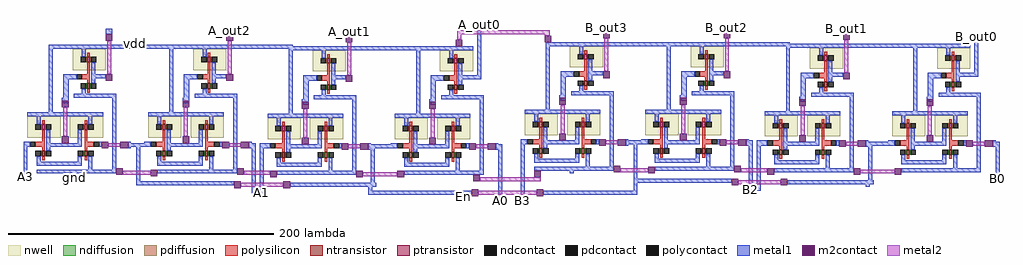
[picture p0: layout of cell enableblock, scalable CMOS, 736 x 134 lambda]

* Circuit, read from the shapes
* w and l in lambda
.subckt enableblock A0 A1 A2 A3 A_out0 A_out1 A_out2 A_out3 B0 B1 B2 B3 B_out0 B_out1 B_out2 B_out3 En gnd vdd
M1 enable1_0/AND_0/not_0/in A3 n1 VSUBS nfet w=4 l=2
M2 gnd En n1 VSUBS nfet w=4 l=2
M3 A_out3 enable1_0/AND_0/not_0/in gnd VSUBS nfet w=4 l=2
M4 enable1_0/AND_1/not_0/in En n2 VSUBS nfet w=4 l=2
M5 gnd A2 n2 VSUBS nfet w=4 l=2
M6 A_out2 enable1_0/AND_1/not_0/in gnd VSUBS nfet w=4 l=2
M7 enable1_0/AND_2/not_0/in A1 n3 VSUBS nfet w=4 l=2
M8 gnd En n3 VSUBS nfet w=4 l=2
M9 A_out1 enable1_0/AND_2/not_0/in gnd VSUBS nfet w=4 l=2
M10 enable1_0/AND_3/not_0/in En n4 VSUBS nfet w=4 l=2
M11 gnd A0 n4 VSUBS nfet w=4 l=2
M12 A_out0 enable1_0/AND_3/not_0/in gnd VSUBS nfet w=4 l=2
M13 enable1_1/AND_0/not_0/in B3 n5 VSUBS nfet w=4 l=2
M14 gnd En n5 VSUBS nfet w=4 l=2
M15 B_out3 enable1_1/AND_0/not_0/in gnd VSUBS nfet w=4 l=2
M16 enable1_1/AND_1/not_0/in En n6 VSUBS nfet w=4 l=2
M17 gnd B2 n6 VSUBS nfet w=4 l=2
M18 B_out2 enable1_1/AND_1/not_0/in gnd VSUBS nfet w=4 l=2
M19 enable1_1/AND_2/not_0/in B1 n7 VSUBS nfet w=4 l=2
M20 gnd En n7 VSUBS nfet w=4 l=2
M21 B_out1 enable1_1/AND_2/not_0/in gnd VSUBS nfet w=4 l=2
M22 enable1_1/AND_3/not_0/in En n8 VSUBS nfet w=4 l=2
M23 gnd B0 n8 VSUBS nfet w=4 l=2
M24 B_out0 enable1_1/AND_3/not_0/in gnd VSUBS nfet w=4 l=2
M25 enable1_0/AND_0/not_0/in A3 vdd n9 pfet w=4 l=2
M26 vdd En enable1_0/AND_0/not_0/in n10 pfet w=4 l=2
M27 A_out3 enable1_0/AND_0/not_0/in vdd n11 pfet w=4 l=2
M28 enable1_0/AND_1/not_0/in En vdd n12 pfet w=4 l=2
M29 vdd A2 enable1_0/AND_1/not_0/in n13 pfet w=4 l=2
M30 A_out2 enable1_0/AND_1/not_0/in vdd n14 pfet w=4 l=2
M31 enable1_0/AND_2/not_0/in A1 vdd n15 pfet w=4 l=2
M32 vdd En enable1_0/AND_2/not_0/in n16 pfet w=4 l=2
M33 A_out1 enable1_0/AND_2/not_0/in vdd n17 pfet w=4 l=2
M34 enable1_0/AND_3/not_0/in En vdd n18 pfet w=4 l=2
M35 vdd A0 enable1_0/AND_3/not_0/in n19 pfet w=4 l=2
M36 A_out0 enable1_0/AND_3/not_0/in vdd n20 pfet w=4 l=2
M37 enable1_1/AND_0/not_0/in B3 vdd n21 pfet w=4 l=2
M38 vdd En enable1_1/AND_0/not_0/in n22 pfet w=4 l=2
M39 B_out3 enable1_1/AND_0/not_0/in vdd n23 pfet w=4 l=2
M40 enable1_1/AND_1/not_0/in En vdd n24 pfet w=4 l=2
M41 vdd B2 enable1_1/AND_1/not_0/in n25 pfet w=4 l=2
M42 B_out2 enable1_1/AND_1/not_0/in vdd n26 pfet w=4 l=2
M43 enable1_1/AND_2/not_0/in B1 vdd n27 pfet w=4 l=2
M44 vdd En enable1_1/AND_2/not_0/in n28 pfet w=4 l=2
M45 B_out1 enable1_1/AND_2/not_0/in vdd n29 pfet w=4 l=2
M46 enable1_1/AND_3/not_0/in En vdd n30 pfet w=4 l=2
M47 vdd B0 enable1_1/AND_3/not_0/in n31 pfet w=4 l=2
M48 B_out0 enable1_1/AND_3/not_0/in vdd n32 pfet w=4 l=2
.ends

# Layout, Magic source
magic
tech scmos
<< metal1 >>
rect 53 117 58 119
rect 144 117 149 119
rect 234 116 239 118
rect 72 107 79 109
rect 333 110 336 123
rect 428 119 433 121
rect 519 119 524 121
rect 609 118 614 120
rect 708 112 711 114
rect -9 6 -6 9
rect 28 6 31 8
rect 251 -3 254 -2
rect 163 -5 166 -3
rect 169 -5 172 -3
rect 251 -6 329 -3
rect 321 -8 324 -6
rect 349 -11 352 5
rect 366 -11 369 11
rect 724 5 727 7
rect 451 -3 454 3
rect 538 -3 541 -1
rect 544 -3 547 -1
rect 383 -6 454 -3
<< m2contact >>
rect 317 106 322 111
rect 384 109 389 114
rect 330 4 335 9
rect 329 -7 334 -2
rect 376 7 381 12
rect 378 -7 383 -2
<< metal2 >>
rect 318 115 388 118
rect 318 111 321 115
rect 384 114 388 115
rect 335 4 381 7
rect 334 -6 378 -3
use enable1  enable1_1
transform 1 0 422 0 1 20
box -56 -21 305 99
use enable1  enable1_0
transform 1 0 47 0 1 18
box -56 -21 305 99
<< labels >>
rlabel metal1 -9 6 -6 9 3 A3
rlabel metal1 28 6 31 8 1 gnd
rlabel metal1 72 107 79 109 1 vdd
rlabel metal1 169 -5 172 -3 1 A1
rlabel metal1 163 -5 166 -3 1 A2
rlabel metal1 349 -11 352 -9 1 A0
rlabel metal1 321 -8 324 -6 1 En
rlabel metal1 366 -11 369 -9 1 B3
rlabel metal1 538 -3 541 -1 1 B2
rlabel metal1 544 -3 547 -1 1 B1
rlabel metal1 724 5 727 7 7 B0
rlabel metal1 53 117 58 119 5 A_out3
rlabel metal1 144 117 149 119 5 A_out2
rlabel metal1 234 116 239 118 5 A_out1
rlabel metal1 333 121 336 123 5 A_out0
rlabel metal1 428 119 433 121 5 B_out3
rlabel metal1 519 119 524 121 5 B_out2
rlabel metal1 609 118 614 120 5 B_out1
rlabel metal1 708 112 711 114 1 B_out0
<< end >>

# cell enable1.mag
magic
tech scmos
<< metal1 >>
rect 6 97 11 99
rect 97 97 102 99
rect 187 96 192 98
rect 6 86 54 89
rect 97 88 147 89
rect 97 86 144 88
rect 187 85 240 88
rect 286 66 289 92
rect 283 63 289 66
rect 25 12 35 15
rect -56 -9 -53 12
rect -19 -10 -16 -8
rect 29 -14 32 12
rect 29 -17 103 -14
rect 116 -21 119 15
rect 122 -21 125 15
rect 206 11 221 14
rect 206 -15 209 11
rect 302 -13 305 14
rect 145 -18 210 -15
rect 204 -20 207 -18
<< m2contact >>
rect 6 92 11 97
rect 97 92 102 97
rect 187 91 192 96
rect 6 62 11 67
rect 97 62 102 67
rect 187 61 192 66
rect 14 -9 19 -4
rect 40 -10 45 -5
rect 105 -9 110 -4
rect 103 -19 108 -14
rect 130 -11 135 -6
rect 195 -11 200 -6
rect 140 -19 145 -14
rect 226 -11 231 -6
<< metal2 >>
rect 7 67 10 92
rect 98 67 101 92
rect 188 66 191 91
rect 19 -9 40 -6
rect 110 -9 130 -6
rect 200 -10 226 -7
rect 108 -18 140 -15
use AND  AND_0
transform 1 0 -52 0 1 -9
box -4 1 77 98
use AND  AND_1
transform 1 0 39 0 1 -9
box -4 1 77 98
use AND  AND_2
transform 1 0 129 0 1 -10
box -4 1 77 98
use AND  AND_3
transform 1 0 225 0 1 -10
box -4 1 77 98
<< labels >>
rlabel metal1 -56 -9 -53 -7 3 in3
rlabel metal1 -19 -10 -16 -8 1 gnd
rlabel metal1 116 -21 119 -20 1 in2
rlabel metal1 122 -21 125 -20 1 in1
rlabel metal1 25 86 32 89 5 vdd
rlabel metal1 204 -20 207 -18 1 enable
rlabel metal1 302 -13 305 -9 7 in0
rlabel metal1 286 91 289 92 5 out0
rlabel metal1 187 96 192 98 5 out1
rlabel metal1 97 97 102 99 5 out2
rlabel metal1 6 97 11 99 5 out3
<< end >>

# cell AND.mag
magic
tech scmos
<< metal1 >>
rect 15 95 33 98
rect 15 47 18 95
rect 26 72 34 76
rect 55 73 58 76
rect 26 58 30 72
rect 58 58 66 61
rect 26 54 30 56
rect -4 21 -2 25
rect 63 4 66 58
rect 75 20 77 25
rect 48 1 66 4
<< m2contact >>
rect 55 20 60 25
rect 69 20 75 25
<< metal2 >>
rect 60 21 69 24
use NAND  NAND_0
transform 1 0 -1 0 1 28
box -1 -27 57 30
use not  not_0
transform 1 0 33 0 1 79
box 0 -21 25 19
<< labels >>
rlabel metal1 55 73 58 76 1 out
rlabel metal1 -4 21 -2 25 3 in1
rlabel metal1 75 20 77 25 7 in2
rlabel metal1 48 1 66 4 1 gnd
rlabel metal1 15 95 20 98 5 vdd
<< end >>

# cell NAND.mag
magic
tech scmos
<< nwell >>
rect 0 0 25 16
rect 32 0 57 16
<< ntransistor >>
rect 11 -14 13 -10
rect 43 -14 45 -10
<< ptransistor >>
rect 11 6 13 10
rect 43 6 45 10
<< ndiffusion >>
rect 10 -14 11 -10
rect 13 -14 14 -10
rect 42 -14 43 -10
rect 45 -14 46 -10
<< pdiffusion >>
rect 10 6 11 10
rect 13 6 14 10
rect 42 6 43 10
rect 45 6 46 10
<< ndcontact >>
rect 6 -14 10 -10
rect 14 -14 18 -10
rect 38 -14 42 -10
rect 46 -14 50 -10
<< pdcontact >>
rect 6 6 10 10
rect 14 6 18 10
rect 38 6 42 10
rect 46 6 50 10
<< polysilicon >>
rect 11 10 13 13
rect 43 10 45 13
rect 11 -3 13 6
rect 6 -7 13 -3
rect 11 -10 13 -7
rect 43 -3 45 6
rect 43 -7 50 -3
rect 43 -10 45 -7
rect 11 -17 13 -14
rect 43 -17 45 -14
<< polycontact >>
rect 2 -7 6 -3
rect 50 -7 54 -3
<< metal1 >>
rect 26 28 31 30
rect 0 16 57 19
rect 7 10 10 16
rect 46 10 49 16
rect -1 -7 2 -3
rect 14 -4 17 6
rect 38 -4 41 6
rect 14 -7 41 -4
rect 54 -7 56 -3
rect 14 -10 17 -7
rect 7 -18 10 -14
rect 38 -18 41 -14
rect 7 -21 41 -18
rect 46 -24 49 -14
rect 7 -27 49 -24
<< m2contact >>
rect 26 23 31 28
rect 26 -4 31 1
<< metal2 >>
rect 27 1 30 23
<< labels >>
rlabel metal1 0 16 57 19 5 vdd
rlabel metal1 0 -7 2 -3 3 in1
rlabel metal1 54 -7 56 -3 7 in2
rlabel metal1 26 28 31 30 5 out
rlabel metal1 7 -27 49 -24 1 gnd
<< end >>

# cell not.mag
magic
tech scmos
<< nwell >>
rect 0 0 25 16
<< ntransistor >>
rect 11 -14 13 -10
<< ptransistor >>
rect 11 6 13 10
<< ndiffusion >>
rect 10 -14 11 -10
rect 13 -14 14 -10
<< pdiffusion >>
rect 10 6 11 10
rect 13 6 14 10
<< ndcontact >>
rect 6 -14 10 -10
rect 14 -14 18 -10
<< pdcontact >>
rect 6 6 10 10
rect 14 6 18 10
<< polysilicon >>
rect 11 10 13 13
rect 11 -3 13 6
rect 7 -7 13 -3
rect 11 -10 13 -7
rect 11 -17 13 -14
<< polycontact >>
rect 3 -7 7 -3
<< metal1 >>
rect 0 16 25 19
rect 7 10 10 16
rect 14 -3 17 6
rect 1 -7 3 -3
rect 14 -6 22 -3
rect 14 -10 17 -6
rect 7 -18 10 -14
rect 1 -21 25 -18
<< labels >>
rlabel metal1 0 16 25 19 5 vdd
rlabel metal1 17 -6 22 -3 1 out
rlabel metal1 1 -7 3 -3 3 in
rlabel metal1 1 -21 25 -18 1 gnd
<< end >>
